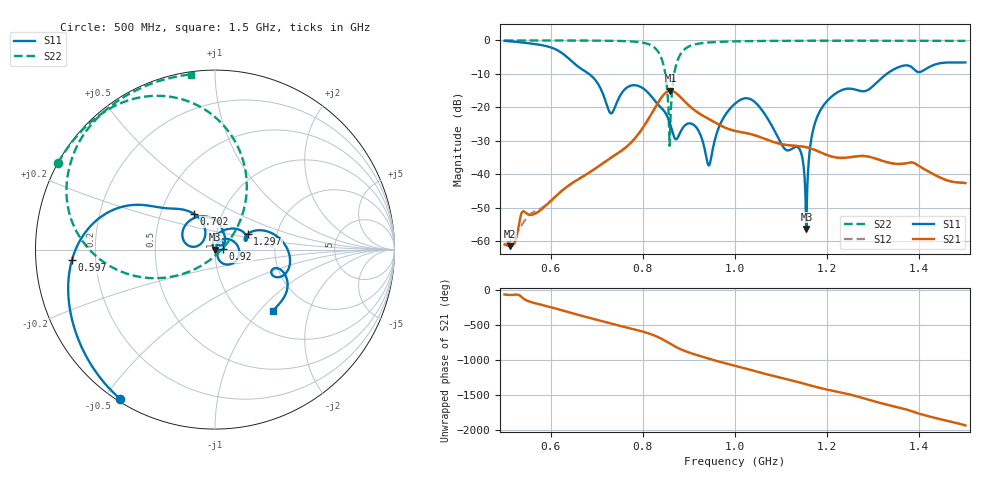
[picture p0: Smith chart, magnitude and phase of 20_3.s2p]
! TOUCHSTONE file generated by CST MICROWAVE STUDIO
! Date and time: Fri Oct 30 07:55:35 2020
! Project name: Scenario_1_Circular_Tissue_out_of_Line.cst
! Parameters = {dy1=-16.521; L_HA=400; MT=2.54; Rad_Dielectric=30; Rad_Lower=7.3; Rad_Upper=30; a_HA=580; a_WG=246; b_HA=500; b_WG=121; c_HA=0; c_WG=187; d_feed=85; dx1=520; h_feed=15; h_lower=18; h_upper=40}
! Header version: 2018
! Port assignment regex: !\s*Touchstone port\s*([0-9]+)\s*=\s*(CST MWS port|CST DS port)\s*([0-9]+|Zmin|Zmax)\s*\(\"(.*)\"\)(\s*mode\s*([0-9]+))?.*
! Touchstone port assignment:
! Touchstone port 1 = CST MWS port 1 ("")
! Touchstone port 2 = CST MWS port 2 ("")
# GHz S DB R 50
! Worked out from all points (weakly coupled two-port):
!   1001 points, 500 MHz to 1.5 GHz, reference 50 ohm
!   highest |S21| = -15.02 dB at 860 MHz (marker M1); lowest = -61.4 dB at 512 MHz (marker M2)
!   lowest |S11| = -56.3 dB at 1.155 GHz (marker M3), VSWR 1.00, Z = 49.8 - j0.0127 ohm
!   |S11| at or under -10 dB: 683.1 MHz to 1.329 GHz (645.9 MHz wide, 64.2 % of centre)
!   |S22| runs from -31.5 to 0.0 dB; largest |S21 - S12| = 0.0014
!   S11 on the Smith chart (normalised r, x): 500 MHz: 0.01, -0.55; 597 MHz: 0.11, -0.04; 702 MHz: 0.74, +0.31; 920 MHz: 1.10, +0.01; 1.297 GHz: 1.42, +0.26; 1.5 GHz: 1.36, -1.19
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0.5  -0.13 -122.5  -60.91 -59.9  -60.98 -59.8  -0.01 151.1
0.512  -0.26 -128.0  -61.43 -65.9  -59.82 -78.1  -0.01 150.3
0.539  -0.63 -140.9  -51.10 -107.5  -54.75 -124.9  -0.01 148.5
0.597  -1.94 -175.7  -48.34 124.4  -48.24 122.4  -0.02 144.3
0.667  -8.53 141.6  -40.86 -3.3  -40.86 -3.4  -0.04 138.4
0.702  -12.80 120.2  -37.75 -63.9  -37.75 -63.9  -0.07 134.6
0.73  -21.74 141.9  -35.08 -113.2  -35.08 -113.2  -0.11 130.9
0.777  -13.40 141.0  -30.12 169.7  -30.12 169.7  -0.31 121.1
0.834  -19.30 64.8  -18.35 48.2  -18.35 48.3  -3.53 83.8
0.86  -25.25 32.8  -15.02 -46.4  -15.02 -46.5  -23.40 -117.4
0.877  -28.69 62.2  -16.31 -107.0  -16.30 -107.0  -5.38 -166.9
0.92  -26.77 5.1  -21.60 148.6  -21.60 148.6  -0.98 157.9
0.944  -37.27 36.7  -23.53 101.0  -23.53 101.0  -0.60 150.2
1  -18.88 23.3  -27.00 2.5  -26.99 2.5  -0.27 140.2
1.039  -17.96 -36.2  -28.16 -67.0  -28.16 -67.0  -0.19 135.5
1.138  -32.10 -22.1  -31.54 126.4  -31.54 126.4  -0.11 126.5
1.155  -56.28 -175.2  -31.89 95.8  -31.89 95.8  -0.10 125.2
1.167  -28.38 108.2  -32.36 73.9  -32.36 74.0  -0.09 124.2
1.211  -16.61 52.6  -34.71 4.7  -34.73 4.6  -0.08 120.8
1.297  -13.93 25.4  -34.93 -138.3  -34.93 -138.3  -0.09 114.3
1.334  -9.52 15.4  -36.49 157.8  -36.51 158.0  -0.08 111.5
1.5  -6.57 -46.4  -42.61 -132.4  -42.60 -132.5  -0.13 97.8
